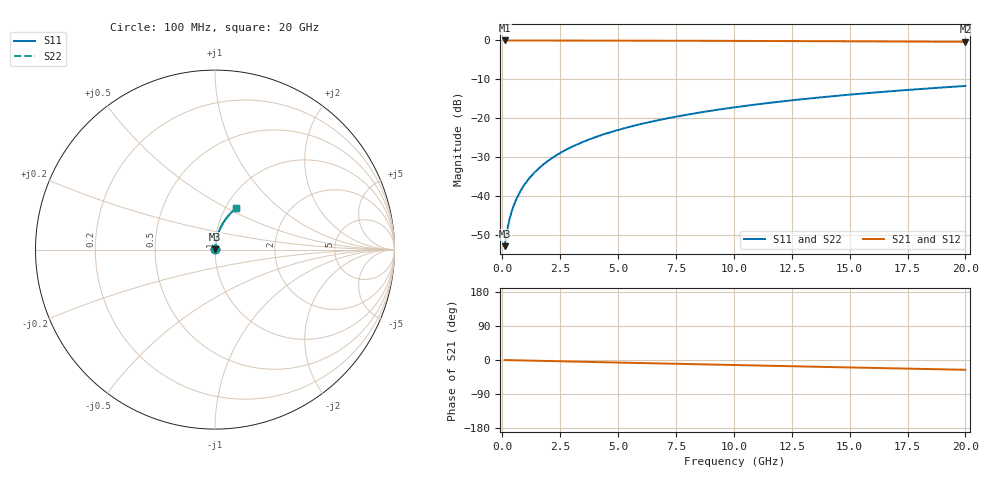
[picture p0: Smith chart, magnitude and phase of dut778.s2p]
! Touchstone file exported from HFSS 2026.1.0
!  File:  C:/ffzhzh/LocalFiles/Ansys_Project_Files/temp_train_BSMRDL_778_1783169307_22436.aedt
!  Generated:  08:49:46 PM Jul  4, 2026
!  Design:  BSMRDL
!  Project:  temp_train_BSMRDL_778_1783169307_22436
! Variables:
!  h_bsmrdl = 3.68um
!  h_ox = 20um
!  h_rdl = 5um
!  h_sub = 80um
!  h_tmrdl = 5um
!  h_tsv = 80um
!  h_via = 3um
!  l_bsmrdl = 338.87um
!  l_sub = 738.87um
!  l_tmrdl = 200um
!  m_sub = 200um
!  pitch = 50.59um
!  r_tsv = 6um
!  s_tmrdl = 10um
!  w_bsmrdl = 22.35um
!  w_sub = 500um
!  w_tmrdl = 12um
!  x_tsv_center1 = 206um
!  x_tsv_center2 = 567.22um
!  x_tsv_center3 = 779.22um
!  x_tsv_center4 = 1140.44um
!  x_tsv_center5 = 1352.44um
!  x_tsv_center6 = 1713.66um
# GHz S MA R 50.000000
! Terminal data exported
! Port[1] = BSM_RDL1_1_T1
! Port[2] = BSM_RDL1_1_T2
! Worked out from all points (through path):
!   200 points, 100 MHz to 20 GHz, reference 50 ohm
!   highest |S21| = -0.01 dB at 100 MHz (marker M1); lowest = -0.4 dB at 20 GHz (marker M2)
!   group delay of S21, straight-line fit = 3.59 ps
!   lowest |S11| = -52.9 dB at 100 MHz (marker M3), VSWR 1.00, Z = 50.2 + j0.155 ohm
!   |S11| at or under -10 dB: start of sweep to end of sweep
!   |S22| runs from -52.9 to -11.7 dB; largest |S21 - S12| = 3.5e-15
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0.1  0.002277 42.9  0.9983 -0.1  0.9983 -0.1  0.002277 42.9
! Gamma 0 0 0 0
! Port Impedance 50 0 50 0
0.2  0.003525 60.1  0.9983 -0.3  0.9983 -0.3  0.003525 60.1
0.3  0.004883 67.6  0.9982 -0.4  0.9982 -0.4  0.004883 67.6
0.4  0.006258 71.8  0.9981 -0.6  0.9981 -0.6  0.006258 71.8
0.5  0.007638 74.5  0.998 -0.7  0.998 -0.7  0.007638 74.5
0.6  0.009024 76.4  0.998 -0.8  0.998 -0.8  0.009024 76.4
0.8  0.01181 78.9  0.9979 -1.1  0.9979 -1.1  0.01181 78.9
1.1  0.01602 80.9  0.9978 -1.5  0.9978 -1.5  0.01602 80.9
1.5  0.02167 82.1  0.9976 -2.0  0.9976 -2.0  0.02167 82.1
1.8  0.02592 82.5  0.9974 -2.4  0.9974 -2.4  0.02592 82.5
2.1  0.03016 82.7  0.9972 -2.8  0.9972 -2.8  0.03016 82.7
2.7  0.03864 82.7  0.9968 -3.7  0.9968 -3.7  0.03864 82.7
3.5  0.04989 82.1  0.996 -4.7  0.996 -4.7  0.04989 82.1
4.2  0.05966 81.5  0.9953 -5.7  0.9953 -5.7  0.05966 81.5
5  0.07075 80.6  0.9942 -6.7  0.9942 -6.7  0.07075 80.6
5.9  0.08311 79.6  0.993 -7.9  0.993 -7.9  0.08311 79.6
6.8  0.09534 78.5  0.9915 -9.1  0.9915 -9.1  0.09534 78.6
8.3  0.1155 76.7  0.9889 -11.1  0.9889 -11.1  0.1155 76.7
10.1  0.1391 74.5  0.9853 -13.4  0.9853 -13.4  0.1391 74.6
13.4  0.1813 70.5  0.9777 -17.6  0.9777 -17.6  0.1813 70.5
16.7  0.2216 66.6  0.9687 -21.8  0.9687 -21.8  0.2216 66.6
20  0.2599 62.6  0.9587 -25.9  0.9587 -25.9  0.2599 62.6
